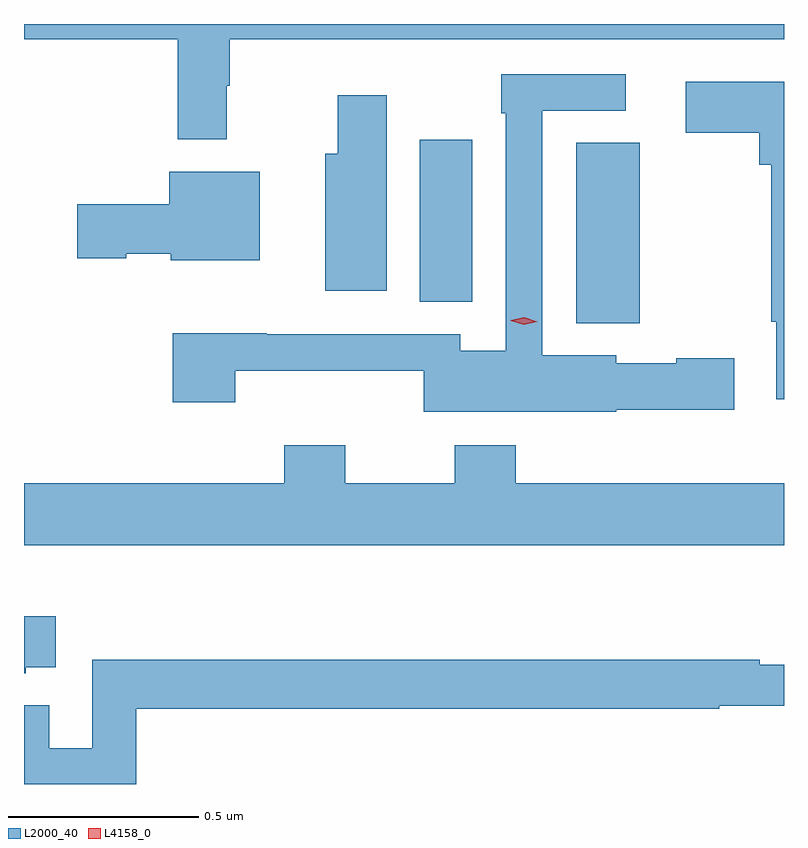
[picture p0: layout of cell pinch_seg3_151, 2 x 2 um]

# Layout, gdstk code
import gdstk
lib = gdstk.Library(unit=1e-6, precision=1e-09)
def R(c, l, rs):  # rectangles x0, y0, x1, y1
    for r in rs: c.add(gdstk.rectangle(r[:2], r[2:], *l))
def P(c, l, *ps):  # polygons
    for p in ps: c.add(gdstk.Polygon(p, *l))
L2000_40 = (2000, 40)
L4158_0 = (4158, 0)

pinch_seg3_151 = lib.new_cell('pinch_seg3_151')
R(pinch_seg3_151, L2000_40, [(1099.493,724.145,1099.66,724.619), (1099.082,724.201,1099.219,724.627)])
P(pinch_seg3_151, L2000_40, [(1098.574,724.769),(1098.581,724.769),(1098.581,724.892),(1100.04,724.892),(1100.04,724.932),(1098.04,724.932),(1098.04,724.892),(1098.445,724.892),(1098.445,724.629),(1098.574,724.629)],
  [(1099.599,723.917),(1099.909,723.917),(1099.909,724.052),(1099.756,724.052),(1099.756,724.039),(1099.599,724.039),(1099.599,724.06),(1099.404,724.06),(1099.404,724.704),(1099.624,724.704),(1099.624,724.8),(1099.296,724.8),(1099.296,724.697),(1099.308,724.697),(1099.308,724.072),(1099.188,724.072),(1099.188,724.116),(1098.679,724.116),(1098.679,724.118),(1098.431,724.118),(1098.431,723.936),(1098.596,723.936),(1098.596,724.019),(1099.092,724.019),(1099.092,723.911),(1099.599,723.911)],
  [(1100.04,724.78),(1099.782,724.78),(1099.782,724.646),(1099.975,724.646),(1099.975,724.562),(1100.007,724.562),(1100.007,724.148),(1100.019,724.148),(1100.019,723.945),(1100.04,723.945)],
  [(1098.994,724.744),(1098.865,724.744),(1098.865,724.591),(1098.833,724.591),(1098.833,724.23),(1098.994,724.23)],
  [(1098.661,724.543),(1098.422,724.543),(1098.422,724.458),(1098.18,724.458),(1098.18,724.316),(1098.309,724.316),(1098.309,724.328),(1098.426,724.328),(1098.426,724.31),(1098.661,724.31)],
  [(1100.04,723.724),(1099.334,723.724),(1099.334,723.823),(1099.174,723.823),(1099.174,723.724),(1098.885,723.724),(1098.885,723.823),(1098.725,723.823),(1098.725,723.724),(1098.04,723.724),(1098.04,723.56),(1100.04,723.56)],
  [(1098.045,723.239),(1098.124,723.239),(1098.124,723.373),(1098.04,723.373),(1098.04,723.224),(1098.045,723.224)],
  [(1098.335,723.13),(1099.87,723.13),(1099.87,723.138),(1100.04,723.138),(1100.04,723.246),(1099.976,723.246),(1099.976,723.259),(1098.219,723.259),(1098.219,723.026),(1098.106,723.026),(1098.106,723.139),(1098.04,723.139),(1098.04,722.932),(1098.335,722.932)])
P(pinch_seg3_151, L4158_0, [(1099.355,724.14),(1099.321,724.151),(1099.321,724.152),(1099.321,724.152),(1099.356,724.16),(1099.39,724.149),(1099.39,724.149),(1099.39,724.149)])

lib.write_gds('pinch_seg3_151.gds')
